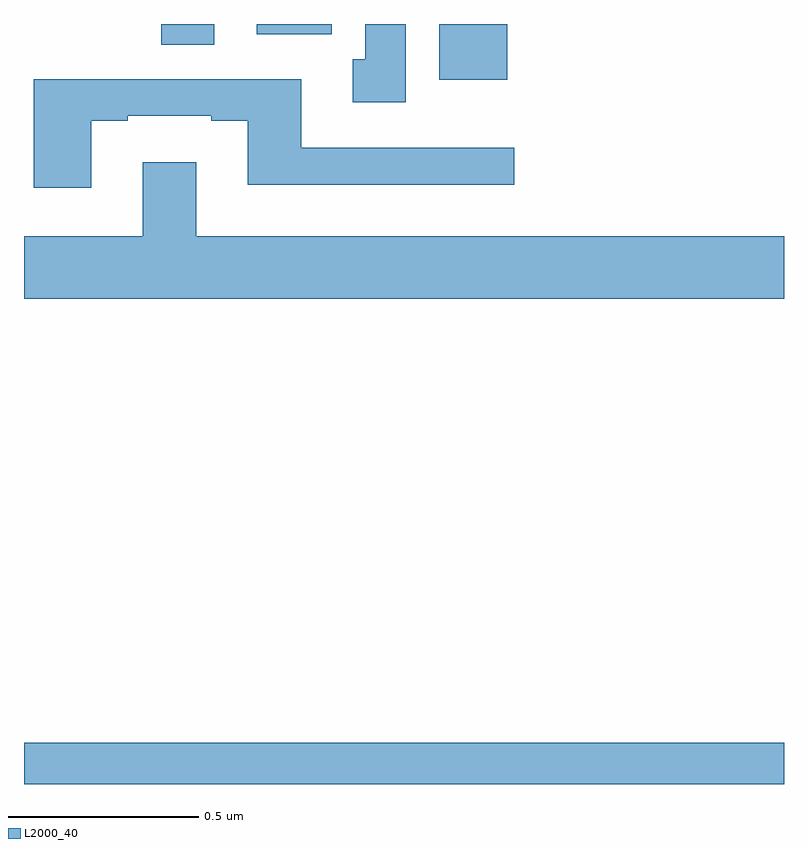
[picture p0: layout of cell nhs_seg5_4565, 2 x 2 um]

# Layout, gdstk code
import gdstk
lib = gdstk.Library(unit=1e-6, precision=1e-09)
def R(c, l, rs):  # rectangles x0, y0, x1, y1
    for r in rs: c.add(gdstk.rectangle(r[:2], r[2:], *l))
def P(c, l, *ps):  # polygons
    for p in ps: c.add(gdstk.Polygon(p, *l))
L2000_40 = (2000, 40)

nhs_seg5_4565 = lib.new_cell('nhs_seg5_4565')
R(nhs_seg5_4565, L2000_40, [(172,872.799,174,872.908), (173.093,874.652,173.272,874.799), (172.361,874.745,172.501,874.799), (172.613,874.772,172.81,874.799)])
P(nhs_seg5_4565, L2000_40, [(173.005,874.799),(172.898,874.799),(172.898,874.706),(172.865,874.706),(172.865,874.593),(173.005,874.593)],
  [(172.177,874.545),(172.273,874.545),(172.273,874.557),(172.493,874.557),(172.493,874.545),(172.589,874.545),(172.589,874.376),(173.29,874.376),(173.29,874.473),(172.729,874.473),(172.729,874.653),(172.269,874.653),(172.269,874.654),(172.025,874.654),(172.025,874.368),(172.177,874.368)],
  [(174,874.24),(172.453,874.24),(172.453,874.435),(172.313,874.435),(172.313,874.24),(172,874.24),(172,874.076),(174,874.076)])

lib.write_gds('nhs_seg5_4565.gds')
